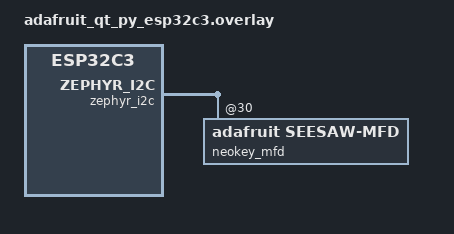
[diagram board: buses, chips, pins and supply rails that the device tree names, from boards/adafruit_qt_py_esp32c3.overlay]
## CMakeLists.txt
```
cmake_minimum_required(VERSION 3.20.0)

find_package(Zephyr REQUIRED HINTS $ENV{ZEPHYR_BASE})
project(bt_keys)

target_sources(app PRIVATE
  src/main.c
  src/hog.c
  src/keys.c
  src/report_desc.c
)

target_sources_ifdef(CONFIG_USB_DEVICE_STACK_NEXT app PRIVATE src/usb_hid.c)
```

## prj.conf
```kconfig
# Application
CONFIG_MAIN_STACK_SIZE=4096
CONFIG_SYSTEM_WORKQUEUE_STACK_SIZE=2048
CONFIG_LOG=y
CONFIG_REBOOT=y

# Shell (over the USB-CDC console) for inspecting/remapping the keymap
CONFIG_SHELL=y

# NeoKey 1x4: seesaw MFD stack over the STEMMA QT I2C bus
CONFIG_I2C=y
CONFIG_GPIO=y
CONFIG_MFD=y
CONFIG_MFD_ADAFRUIT_SEESAW=y
CONFIG_GPIO_ADAFRUIT_SEESAW=y
CONFIG_LED_STRIP=y
CONFIG_LED_STRIP_ADAFRUIT_SEESAW=y

# Bluetooth HID-over-GATT (HoG) keyboard peripheral
CONFIG_BT=y
CONFIG_BT_PERIPHERAL=y
CONFIG_BT_SMP=y
CONFIG_BT_DEVICE_NAME="bt_keys"
CONFIG_BT_DEVICE_APPEARANCE=961
CONFIG_BT_MAX_CONN=1
CONFIG_BT_GATT_DYNAMIC_DB=y
CONFIG_BT_HIDS=y
CONFIG_BT_HIDS_INPUT_REPORT_COUNT=2
# Largest report is the 8-byte keyboard one.
CONFIG_BT_HIDS_MAX_REPORT_LEN=8
CONFIG_BT_DIS=y
CONFIG_BT_DIS_MODEL_NUMBER_STR="bt_keys"
CONFIG_BT_DIS_MANUF_NAME_STR="rosterloh"
CONFIG_BT_BAS=y
# esp32 BLE host RX thread needs more than the 1200-byte default (zephyr#114394)
CONFIG_BT_RX_STACK_SIZE=2048

# Bigger ATT MTU improves OTA image-upload throughput
CONFIG_BT_L2CAP_TX_MTU=252
CONFIG_BT_BUF_ACL_TX_SIZE=251
CONFIG_BT_BUF_ACL_RX_SIZE=251

# Persistent storage: BT bonds + saved keymap
CONFIG_FLASH=y
CONFIG_FLASH_MAP=y
CONFIG_ZMS=y
CONFIG_SETTINGS=y
CONFIG_BT_SETTINGS=y

# OTA over Bluetooth: MCUmgr SMP transport + MCUboot image management
CONFIG_STREAM_FLASH=y
CONFIG_IMG_MANAGER=y
CONFIG_IMG_ERASE_PROGRESSIVELY=y
CONFIG_MCUBOOT_IMG_MANAGER=y
CONFIG_ZCBOR=y
CONFIG_BASE64=y
CONFIG_MCUMGR=y
CONFIG_MCUMGR_GRP_IMG=y
CONFIG_MCUMGR_GRP_OS=y
CONFIG_MCUMGR_TRANSPORT_BT=y
CONFIG_MCUMGR_TRANSPORT_BT_REASSEMBLY=y

CONFIG_HEAP_MEM_POOL_SIZE=16384
```

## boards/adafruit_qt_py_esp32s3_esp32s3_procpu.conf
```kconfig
# USB HID keypad, in addition to the BLE HoG one. esp32c3 has no USB device
# controller, so this is enabled only for the esp32s3 board target.
CONFIG_USB_DEVICE_STACK_NEXT=y
CONFIG_USBD_HID_SUPPORT=y
CONFIG_HWINFO=y
```

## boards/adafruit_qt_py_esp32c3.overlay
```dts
/*
 * Adafruit NeoKey 1x4 QT I2C Keypad (PID 4980) on the STEMMA QT bus.
 *
 * The keypad is an Adafruit seesaw device: the 4 mechanical keys are wired to
 * seesaw GPIO pins 4,5,6,7 (active-low, internal pull-up) and the 4 NeoPixels
 * are chained on seesaw pin 3. Drivers come from the rosterloh-drivers module.
 */

#include <zephyr/dt-bindings/led/led.h>

&zephyr_i2c {
	status = "okay";

	neokey_mfd: seesaw@30 {
		compatible = "adafruit,seesaw-mfd";
		reg = <0x30>;
		read-delay-us = <10000>;
		status = "okay";

		neokey_gpio: gpio {
			compatible = "adafruit,seesaw-gpio";
			gpio-controller;
			#gpio-cells = <2>;
			ngpios = <16>;
			status = "okay";
		};

		neokey_leds: neopixel {
			compatible = "adafruit,seesaw-neopixel";
			chain-length = <4>;
			color-mapping = <LED_COLOR_ID_GREEN LED_COLOR_ID_RED LED_COLOR_ID_BLUE>;
			seesaw-pin = <3>;
			frequency = <800000>;
			status = "okay";
		};
	};
};
```

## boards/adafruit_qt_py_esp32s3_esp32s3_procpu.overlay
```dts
/*
 * Adafruit NeoKey 1x4 QT I2C Keypad (PID 4980) on the STEMMA QT bus.
 *
 * The keypad is an Adafruit seesaw device: the 4 mechanical keys are wired to
 * seesaw GPIO pins 4,5,6,7 (active-low, internal pull-up) and the 4 NeoPixels
 * are chained on seesaw pin 3. Drivers come from the rosterloh-drivers module.
 */

#include <zephyr/dt-bindings/led/led.h>

/* USB HID keypad, alongside the BLE HoG one - see boards/*.conf. */
zephyr_udc0: &usb_otg {
	status = "okay";

	usb_hid: usb_hid {
		compatible = "zephyr,hid-device";
		protocol-code = "none";
		in-report-size = <9>;
		in-polling-period-us = <10000>;
	};
};

&zephyr_i2c {
	status = "okay";

	neokey_mfd: seesaw@30 {
		compatible = "adafruit,seesaw-mfd";
		reg = <0x30>;
		read-delay-us = <10000>;
		status = "okay";

		neokey_gpio: gpio {
			compatible = "adafruit,seesaw-gpio";
			gpio-controller;
			#gpio-cells = <2>;
			ngpios = <16>;
			status = "okay";
		};

		neokey_leds: neopixel {
			compatible = "adafruit,seesaw-neopixel";
			chain-length = <4>;
			color-mapping = <LED_COLOR_ID_GREEN LED_COLOR_ID_RED LED_COLOR_ID_BLUE>;
			seesaw-pin = <3>;
			frequency = <800000>;
			status = "okay";
		};
	};
};
```

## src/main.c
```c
/*
 * Copyright (c) 2026 Richard Osterloh
 *
 * SPDX-License-Identifier: Apache-2.0
 *
 * bt_keys - Adafruit NeoKey 1x4 turned into a Bluetooth HID keypad.
 *
 * The four seesaw-connected keys are scanned and reported over HID-over-GATT
 * (keyboard + consumer reports). Each key's NeoPixel lights while held. The
 * firmware is updatable over Bluetooth via MCUmgr SMP (see README).
 */

#include <zephyr/bluetooth/bluetooth.h>
#include <zephyr/bluetooth/conn.h>
#include <zephyr/bluetooth/hci.h>
#include <zephyr/bluetooth/services/bas.h>
#include <zephyr/bluetooth/uuid.h>
#include <zephyr/device.h>
#include <zephyr/devicetree.h>
#include <zephyr/drivers/gpio.h>
#include <zephyr/drivers/led_strip.h>
#include <zephyr/kernel.h>
#include <zephyr/logging/log.h>
#include <zephyr/settings/settings.h>
#include <zephyr/sys/util.h>

#include "hog.h"
#include "keys.h"
#include "usb_hid.h"

LOG_MODULE_REGISTER(app, LOG_LEVEL_INF);

#define SCAN_INTERVAL K_MSEC(20)

/* Seesaw GPIO pins the four keys are wired to (see board overlay). */
static const uint8_t key_pin[BT_KEYS_NUM_KEYS] = {4, 5, 6, 7};

#define KEYPAD_NODE DT_COMPAT_GET_ANY_STATUS_OKAY(adafruit_seesaw_gpio)
#define STRIP_NODE  DT_COMPAT_GET_ANY_STATUS_OKAY(adafruit_seesaw_neopixel)

static const struct device *const keypad_dev = DEVICE_DT_GET(KEYPAD_NODE);
static const struct device *const strip_dev = DEVICE_DT_GET(STRIP_NODE);

/* Colour shown on a key's NeoPixel while it is held. */
static const struct led_rgb key_lit = {.r = 0, .g = 24, .b = 24};
static const struct led_rgb key_off = {.r = 0, .g = 0, .b = 0};

/* ---------- Bluetooth ---------- */

static const struct bt_data ad[] = {
	BT_DATA_BYTES(BT_DATA_FLAGS, (BT_LE_AD_GENERAL | BT_LE_AD_NO_BREDR)),
	BT_DATA_BYTES(BT_DATA_UUID16_ALL, BT_UUID_16_ENCODE(BT_UUID_HIDS_VAL),
		      BT_UUID_16_ENCODE(BT_UUID_BAS_VAL)),
};

static const struct bt_data sd[] = {
	BT_DATA(BT_DATA_NAME_COMPLETE, CONFIG_BT_DEVICE_NAME, sizeof(CONFIG_BT_DEVICE_NAME) - 1),
};

static void connected(struct bt_conn *conn, uint8_t err)
{
	if (err) {
		LOG_ERR("Connection failed (err 0x%02x)", err);
		return;
	}

	LOG_INF("Connected");

	if (bt_conn_set_security(conn, BT_SECURITY_L2)) {
		LOG_WRN("Failed to set security");
	}
}

static void disconnected(struct bt_conn *conn, uint8_t reason)
{
	LOG_INF("Disconnected (reason 0x%02x)", reason);
}

static void security_changed(struct bt_conn *conn, bt_security_t level, enum bt_security_err err)
{
	if (err) {
		LOG_WRN("Security failed: level %u err %d", level, err);
	} else {
		LOG_INF("Security changed: level %u", level);
	}
}

BT_CONN_CB_DEFINE(conn_callbacks) = {
	.connected = connected,
	.disconnected = disconnected,
	.security_changed = security_changed,
};

static void bt_ready(int err)
{
	if (err) {
		LOG_ERR("Bluetooth init failed (err %d)", err);
		return;
	}

	err = hog_init();
	if (err) {
		LOG_ERR("HID service register failed (err %d)", err);
		return;
	}

	if (IS_ENABLED(CONFIG_SETTINGS)) {
		bt_keys_settings_register();
		settings_load();
	}

	bt_bas_set_battery_level(100);

	err = bt_le_adv_start(BT_LE_ADV_CONN_FAST_1, ad, ARRAY_SIZE(ad), sd, ARRAY_SIZE(sd));
	if (err) {
		LOG_ERR("Advertising failed to start (err %d)", err);
		return;
	}

	LOG_INF("Advertising as \"%s\"", CONFIG_BT_DEVICE_NAME);
}

/* ---------- Keypad ---------- */

static int keypad_init(void)
{
	if (!device_is_ready(keypad_dev)) {
		LOG_ERR("Keypad GPIO not ready");
		return -ENODEV;
	}

	for (int i = 0; i < BT_KEYS_NUM_KEYS; i++) {
		int err = gpio_pin_configure(keypad_dev, key_pin[i], GPIO_INPUT | GPIO_PULL_UP);

		if (err) {
			LOG_ERR("configure key pin %u: %d", key_pin[i], err);
			return err;
		}
	}

	return 0;
}

/* Returns a bitmask of pressed keys (bit i == key i), or negative on error. */
static int keypad_scan(void)
{
	gpio_port_value_t raw;
	int err = gpio_port_get_raw(keypad_dev, &raw);

	if (err) {
		return err;
	}

	int pressed = 0;

	for (int i = 0; i < BT_KEYS_NUM_KEYS; i++) {
		/* Keys are active-low with pull-ups: a 0 bit means pressed. */
		if (!(raw & BIT(key_pin[i]))) {
			pressed |= BIT(i);
		}
	}

	return pressed;
}

static void leds_update(int pressed_mask)
{
	struct led_rgb buf[BT_KEYS_NUM_KEYS];

	for (int i = 0; i < BT_KEYS_NUM_KEYS; i++) {
		buf[i] = (pressed_mask & BIT(i)) ? key_lit : key_off;
	}

	int err = led_strip_update_rgb(strip_dev, buf, BT_KEYS_NUM_KEYS);

	if (err) {
		LOG_WRN("led_strip update failed: %d", err);
	}
}

/* Translate the pressed mask into HID reports and notify on change. */
static void report_keys(int pressed_mask)
{
	static uint8_t prev_kbd[HID_KEYBOARD_KEYS];
	static uint16_t prev_consumer;
	static int prev_mask;
	/*
	 * The consumer report carries a single 16-bit usage, so at most one held
	 * consumer key can be reported at a time. A newly pressed consumer key
	 * takes over from an older held one; releasing the active key falls back
	 * to another still-held consumer key, if any.
	 */
	static int active_consumer_key = -1;

	uint8_t kbd[HID_KEYBOARD_KEYS] = {0};
	uint16_t consumer = 0;
	int kbd_idx = 0;

	if (active_consumer_key >= 0 && !(pressed_mask & BIT(active_consumer_key))) {
		active_consumer_key = -1;
	}

	for (int i = 0; i < BT_KEYS_NUM_KEYS; i++) {
		bool newly_pressed = (pressed_mask & BIT(i)) && !(prev_mask & BIT(i));

		if (newly_pressed && bt_keys_map[i].type == BT_KEYS_TYPE_CONSUMER) {
			active_consumer_key = i;
		}
	}

	if (active_consumer_key < 0) {
		for (int i = 0; i < BT_KEYS_NUM_KEYS; i++) {
			if ((pressed_mask & BIT(i)) &&
			    bt_keys_map[i].type == BT_KEYS_TYPE_CONSUMER) {
				active_consumer_key = i;
				break;
			}
		}
	}

	if (active_consumer_key >= 0) {
		consumer = bt_keys_map[active_consumer_key].usage;
	}

	for (int i = 0; i < BT_KEYS_NUM_KEYS; i++) {
		if (!(pressed_mask & BIT(i))) {
			continue;
		}

		if (bt_keys_map[i].type == BT_KEYS_TYPE_KEYBOARD && kbd_idx < HID_KEYBOARD_KEYS) {
			kbd[kbd_idx++] = (uint8_t)bt_keys_map[i].usage;
		}
	}

	prev_mask = pressed_mask;

	if (memcmp(kbd, prev_kbd, sizeof(kbd)) != 0) {
		memcpy(prev_kbd, kbd, sizeof(kbd));
		hog_notify_keyboard(0, kbd);
		if (IS_ENABLED(CONFIG_USB_DEVICE_STACK_NEXT)) {
			usb_hid_notify_keyboard(0, kbd);
		}
	}

	if (consumer != prev_consumer) {
		prev_consumer = consumer;
		hog_notify_consumer(consumer);
		if (IS_ENABLED(CONFIG_USB_DEVICE_STACK_NEXT)) {
			usb_hid_notify_consumer(consumer);
		}
	}
}

int main(void)
{
	int err;

	LOG_INF("bt_keys starting");

	if (keypad_init()) {
		return 0;
	}

	if (!device_is_ready(strip_dev)) {
		LOG_ERR("LED strip not ready");
		return 0;
	}
	leds_update(0);

	if (IS_ENABLED(CONFIG_USB_DEVICE_STACK_NEXT)) {
		err = bt_keys_usb_hid_init();
		if (err) {
			LOG_ERR("usb_hid_init failed (err %d)", err);
			return 0;
		}
	}

	err = bt_enable(bt_ready);
	if (err) {
		LOG_ERR("bt_enable failed (err %d)", err);
		return 0;
	}

	int prev_mask = 0;

	while (1) {
		int mask = keypad_scan();

		if (mask < 0) {
			LOG_WRN("keypad scan failed: %d", mask);
			k_sleep(SCAN_INTERVAL);
			continue;
		}

		if (mask != prev_mask) {
			report_keys(mask);
			leds_update(mask);
			prev_mask = mask;
		}

		k_sleep(SCAN_INTERVAL);
	}

	return 0;
}
```

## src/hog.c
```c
/*
 * Copyright (c) 2026 Richard Osterloh
 *
 * SPDX-License-Identifier: Apache-2.0
 *
 * HID-over-GATT (HoG) on Zephyr's HID Service with two input reports: a
 * boot-style keyboard report (report id 1) and a consumer-control report
 * (report id 2), so keys can map to either usage page.
 */

#include <errno.h>
#include <string.h>

#include <zephyr/bluetooth/services/hids.h>
#include <zephyr/logging/log.h>
#include <zephyr/sys/byteorder.h>

#include "hog.h"

LOG_MODULE_REGISTER(hog, LOG_LEVEL_INF);

int hog_init(void)
{
	static const struct bt_hids_cb cb = {0};
	const struct bt_hids_register_param param = {
		.bcd_hid = 0x0111,
		.flags = BT_HIDS_INFO_FLAG_NORMALLY_CONNECTABLE,
		.report_map = hid_report_desc,
		.report_map_len = hid_report_desc_len,
		.input_report_ids = {REPORT_ID_KEYBOARD, REPORT_ID_CONSUMER},
		.cb = &cb,
	};

	return bt_hids_register(&param);
}

static void send(uint8_t id, const uint8_t *report, uint16_t len)
{
	int err = bt_hids_send_report(NULL, id, report, len, NULL, NULL);

	/* -ENOTCONN: no host subscribed yet. */
	if (err && err != -ENOTCONN) {
		LOG_WRN("report %u notify failed: %d", id, err);
	}
}

void hog_notify_keyboard(uint8_t modifiers, const uint8_t keycodes[HID_KEYBOARD_KEYS])
{
	uint8_t report[2 + HID_KEYBOARD_KEYS] = {modifiers, 0};

	memcpy(&report[2], keycodes, HID_KEYBOARD_KEYS);
	send(REPORT_ID_KEYBOARD, report, sizeof(report));
}

void hog_notify_consumer(uint16_t usage)
{
	uint8_t report[2];

	sys_put_le16(usage, report);
	send(REPORT_ID_CONSUMER, report, sizeof(report));
}
```

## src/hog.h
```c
/*
 * Copyright (c) 2026 Richard Osterloh
 *
 * SPDX-License-Identifier: Apache-2.0
 */

#ifndef BT_KEYS_HOG_H_
#define BT_KEYS_HOG_H_

#include <stdint.h>

#include "report_desc.h"

/* Register the HID Service. Call before settings_load() so CCCs restore. */
int hog_init(void);

/*
 * Notify the connected host of the current keyboard state. keycodes holds up
 * to HID_KEYBOARD_KEYS pressed HID keyboard usages (0 = empty slot).
 */
void hog_notify_keyboard(uint8_t modifiers, const uint8_t keycodes[HID_KEYBOARD_KEYS]);

/*
 * Notify the connected host of the current consumer-control state. usage is the
 * 16-bit consumer usage currently held, or 0 when released.
 */
void hog_notify_consumer(uint16_t usage);

#endif /* BT_KEYS_HOG_H_ */
```

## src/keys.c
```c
/*
 * Copyright (c) 2026 Richard Osterloh
 *
 * SPDX-License-Identifier: Apache-2.0
 *
 * Keymap: default bindings, persistence in Settings, and a shell command to
 * inspect and remap the four keys at runtime.
 */

#include <stdlib.h>

#include <zephyr/kernel.h>
#include <zephyr/logging/log.h>
#include <zephyr/settings/settings.h>
#include <zephyr/shell/shell.h>

#include "keys.h"

LOG_MODULE_REGISTER(keys, LOG_LEVEL_INF);

/* Consumer-control usages (HID Usage Table, Consumer page 0x0C). */
#define USAGE_SCAN_PREV  0x00B6
#define USAGE_SCAN_NEXT  0x00B5
#define USAGE_PLAY_PAUSE 0x00CD
#define USAGE_MUTE       0x00E2

/* Default: a media pad - Prev / Play-Pause / Next / Mute. */
struct bt_keys_binding bt_keys_map[BT_KEYS_NUM_KEYS] = {
	{BT_KEYS_TYPE_CONSUMER, USAGE_SCAN_PREV},
	{BT_KEYS_TYPE_CONSUMER, USAGE_PLAY_PAUSE},
	{BT_KEYS_TYPE_CONSUMER, USAGE_SCAN_NEXT},
	{BT_KEYS_TYPE_CONSUMER, USAGE_MUTE},
};

#define SETTINGS_ROOT "btkeys"
#define SETTINGS_MAP  SETTINGS_ROOT "/map"

static int keys_settings_set(const char *name, size_t len, settings_read_cb read_cb, void *cb_arg)
{
	if (settings_name_steq(name, "map", NULL)) {
		if (len != sizeof(bt_keys_map)) {
			LOG_WRN("stored keymap size mismatch (%zu), ignoring", len);
			return -EINVAL;
		}

		ssize_t rc = read_cb(cb_arg, bt_keys_map, sizeof(bt_keys_map));

		if (rc < 0) {
			return (int)rc;
		}
		LOG_INF("loaded keymap from settings");
		return 0;
	}

	return -ENOENT;
}

static struct settings_handler keys_conf = {
	.name = SETTINGS_ROOT,
	.h_set = keys_settings_set,
};

int bt_keys_settings_register(void)
{
	return settings_register(&keys_conf);
}

int bt_keys_set(uint8_t index, enum bt_keys_type type, uint16_t usage)
{
	if (index >= BT_KEYS_NUM_KEYS) {
		return -EINVAL;
	}

	bt_keys_map[index].type = (uint8_t)type;
	bt_keys_map[index].usage = usage;

	return settings_save_one(SETTINGS_MAP, bt_keys_map, sizeof(bt_keys_map));
}

/* ---------- shell ---------- */

static const char *type_str(uint8_t type)
{
	return type == BT_KEYS_TYPE_CONSUMER ? "consumer" : "keyboard";
}

static int cmd_keys_list(const struct shell *sh, size_t argc, char **argv)
{
	ARG_UNUSED(argc);
	ARG_UNUSED(argv);

	for (int i = 0; i < BT_KEYS_NUM_KEYS; i++) {
		shell_print(sh, "key %d: %-8s usage 0x%04x", i, type_str(bt_keys_map[i].type),
			    bt_keys_map[i].usage);
	}

	return 0;
}

static int cmd_keys_set(const struct shell *sh, size_t argc, char **argv)
{
	/* keys set <index> <keyboard|consumer> <usage-hex> */
	unsigned long index = strtoul(argv[1], NULL, 0);
	enum bt_keys_type type;

	if (!strcmp(argv[2], "keyboard") || !strcmp(argv[2], "kbd")) {
		type = BT_KEYS_TYPE_KEYBOARD;
	} else if (!strcmp(argv[2], "consumer") || !strcmp(argv[2], "cons")) {
		type = BT_KEYS_TYPE_CONSUMER;
	} else {
		shell_error(sh, "type must be 'keyboard' or 'consumer'");
		return -EINVAL;
	}

	unsigned long usage = strtoul(argv[3], NULL, 0);

	if (index >= BT_KEYS_NUM_KEYS || usage > UINT16_MAX) {
		shell_error(sh, "index 0..%d, usage 0..0xffff", BT_KEYS_NUM_KEYS - 1);
		return -EINVAL;
	}

	int err = bt_keys_set((uint8_t)index, type, (uint16_t)usage);

	if (err) {
		shell_error(sh, "failed to save: %d", err);
		return err;
	}

	shell_print(sh, "key %lu -> %s usage 0x%04lx (saved)", index, type_str(type), usage);
	return 0;
}

SHELL_STATIC_SUBCMD_SET_CREATE(
	keys_cmds, SHELL_CMD(list, NULL, "List current key bindings", cmd_keys_list),
	SHELL_CMD_ARG(set, NULL, "Remap a key: set <index> <keyboard|consumer> <usage-hex>",
		      cmd_keys_set, 4, 0),
	SHELL_SUBCMD_SET_END);

SHELL_CMD_REGISTER(keys, &keys_cmds, "NeoKey binding control", NULL);
```

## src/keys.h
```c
/*
 * Copyright (c) 2026 Richard Osterloh
 *
 * SPDX-License-Identifier: Apache-2.0
 */

#ifndef BT_KEYS_KEYS_H_
#define BT_KEYS_KEYS_H_

#include <stdint.h>

/* Number of physical keys on the NeoKey 1x4. */
#define BT_KEYS_NUM_KEYS 4

/*
 * A physical key sends either a standard keyboard usage (HID Keyboard/Keypad
 * page 0x07, 8-bit usage) or a consumer-control usage (HID Consumer page 0x0C,
 * 16-bit usage). The two are reported over different HID input reports, so a
 * key's type selects which report carries it.
 */
enum bt_keys_type {
	BT_KEYS_TYPE_KEYBOARD = 0,
	BT_KEYS_TYPE_CONSUMER = 1,
};

struct bt_keys_binding {
	uint8_t type;   /* enum bt_keys_type */
	uint16_t usage; /* HID usage code on the type's usage page */
};

/* Current bindings, index 0..3 matching physical keys 0..3 (left to right). */
extern struct bt_keys_binding bt_keys_map[BT_KEYS_NUM_KEYS];

/*
 * Register the settings handler and load any persisted bindings. Call after
 * settings_subsys_init()/before settings_load(). Falls back to the compiled-in
 * media-key defaults for any binding not present in storage.
 */
int bt_keys_settings_register(void);

/* Persist a single binding to storage. */
int bt_keys_set(uint8_t index, enum bt_keys_type type, uint16_t usage);

#endif /* BT_KEYS_KEYS_H_ */
```

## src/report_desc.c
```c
/*
 * Copyright (c) 2026 Richard Osterloh
 *
 * SPDX-License-Identifier: Apache-2.0
 */

#include "report_desc.h"

/* clang-format off */
const uint8_t hid_report_desc[] = {
	/* Keyboard */
	0x05, 0x01,               /* Usage Page (Generic Desktop) */
	0x09, 0x06,               /* Usage (Keyboard) */
	0xA1, 0x01,               /* Collection (Application) */
	0x85, REPORT_ID_KEYBOARD, /*  Report ID (1) */
	0x05, 0x07,               /*  Usage Page (Keyboard/Keypad) */
	0x19, 0xE0,               /*  Usage Minimum (Left Control) */
	0x29, 0xE7,               /*  Usage Maximum (Right GUI) */
	0x15, 0x00,               /*  Logical Minimum (0) */
	0x25, 0x01,               /*  Logical Maximum (1) */
	0x75, 0x01,               /*  Report Size (1) */
	0x95, 0x08,               /*  Report Count (8) */
	0x81, 0x02,               /*  Input (Data,Var,Abs) - modifier byte */
	0x95, 0x01,               /*  Report Count (1) */
	0x75, 0x08,               /*  Report Size (8) */
	0x81, 0x03,               /*  Input (Const) - reserved byte */
	0x95, 0x06,               /*  Report Count (6) */
	0x75, 0x08,               /*  Report Size (8) */
	0x15, 0x00,               /*  Logical Minimum (0) */
	0x25, 0xFF,               /*  Logical Maximum (255) */
	0x05, 0x07,               /*  Usage Page (Keyboard/Keypad) */
	0x19, 0x00,               /*  Usage Minimum (0) */
	0x29, 0xFF,               /*  Usage Maximum (255) */
	0x81, 0x00,               /*  Input (Data,Array) - keycodes */
	0xC0,                     /* End Collection */

	/* Consumer control */
	0x05, 0x0C,               /* Usage Page (Consumer) */
	0x09, 0x01,               /* Usage (Consumer Control) */
	0xA1, 0x01,               /* Collection (Application) */
	0x85, REPORT_ID_CONSUMER, /*  Report ID (2) */
	0x15, 0x00,               /*  Logical Minimum (0) */
	0x26, 0xFF, 0x03,         /*  Logical Maximum (0x3FF) */
	0x19, 0x00,               /*  Usage Minimum (0) */
	0x2A, 0xFF, 0x03,         /*  Usage Maximum (0x3FF) */
	0x75, 0x10,               /*  Report Size (16) */
	0x95, 0x01,               /*  Report Count (1) */
	0x81, 0x00,               /*  Input (Data,Array) */
	0xC0,                     /* End Collection */
};
/* clang-format on */

const size_t hid_report_desc_len = sizeof(hid_report_desc);
```

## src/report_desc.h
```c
/*
 * Copyright (c) 2026 Richard Osterloh
 *
 * SPDX-License-Identifier: Apache-2.0
 *
 * HID report descriptor shared by both HID transports (BLE HoG and USB HID):
 * a keyboard collection (report id 1, 8-byte report) and a consumer-control
 * collection (report id 2, one 16-bit usage).
 */

#ifndef BT_KEYS_REPORT_DESC_H_
#define BT_KEYS_REPORT_DESC_H_

#include <stddef.h>
#include <stdint.h>

#define REPORT_ID_KEYBOARD 0x01
#define REPORT_ID_CONSUMER 0x02

/* Keyboard input report: [modifiers][reserved][keycode x6]. */
#define HID_KEYBOARD_KEYS 6

extern const uint8_t hid_report_desc[];
extern const size_t hid_report_desc_len;

#endif /* BT_KEYS_REPORT_DESC_H_ */
```

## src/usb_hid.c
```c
/*
 * Copyright (c) 2026 Richard Osterloh
 *
 * SPDX-License-Identifier: Apache-2.0
 *
 * USB HID transport: same two reports (keyboard + consumer) as the BLE HoG
 * service, sent over a single HID class instance instead of GATT notifications.
 */

#include <string.h>

#include <zephyr/drivers/usb/udc.h>
#include <zephyr/sys/byteorder.h>
#include <zephyr/usb/class/usbd_hid.h>
#include <zephyr/usb/usbd.h>

#include <zephyr/logging/log.h>

#include "usb_hid.h"

LOG_MODULE_REGISTER(usb_hid, LOG_LEVEL_INF);

#define APP_USB_VID 0x2fe3
#define APP_USB_PID 0x0002

static const struct device *const hid_dev = DEVICE_DT_GET(DT_NODELABEL(usb_hid));

static bool hid_ready;

static void hid_iface_ready(const struct device *dev, const bool ready)
{
	ARG_UNUSED(dev);
	hid_ready = ready;
}

static const struct hid_device_ops hid_ops = {
	.iface_ready = hid_iface_ready,
};

USBD_DEVICE_DEFINE(bt_keys_usbd, DEVICE_DT_GET(DT_NODELABEL(zephyr_udc0)), APP_USB_VID,
		   APP_USB_PID);
USBD_DESC_LANG_DEFINE(usbd_lang);
USBD_DESC_MANUFACTURER_DEFINE(usbd_mfr, "rosterloh");
USBD_DESC_PRODUCT_DEFINE(usbd_product, "bt_keys");
USBD_DESC_SERIAL_NUMBER_DEFINE(usbd_sn);
USBD_DESC_CONFIG_DEFINE(usbd_fs_cfg_desc, "FS Configuration");
USBD_CONFIGURATION_DEFINE(usbd_fs_config, USB_SCD_SELF_POWERED, 100, &usbd_fs_cfg_desc);

int bt_keys_usb_hid_init(void)
{
	int err;

	err = hid_device_register(hid_dev, hid_report_desc, hid_report_desc_len, &hid_ops);
	if (err) {
		LOG_ERR("hid_device_register failed (%d)", err);
		return err;
	}

	err = usbd_add_descriptor(&bt_keys_usbd, &usbd_lang);
	err |= usbd_add_descriptor(&bt_keys_usbd, &usbd_mfr);
	err |= usbd_add_descriptor(&bt_keys_usbd, &usbd_product);
	err |= usbd_add_descriptor(&bt_keys_usbd, &usbd_sn);
	if (err) {
		LOG_ERR("failed to add USB string descriptors (%d)", err);
		return err;
	}

	err = usbd_add_configuration(&bt_keys_usbd, USBD_SPEED_FS, &usbd_fs_config);
	if (err) {
		LOG_ERR("usbd_add_configuration failed (%d)", err);
		return err;
	}

	err = usbd_register_all_classes(&bt_keys_usbd, USBD_SPEED_FS, 1, NULL);
	if (err) {
		LOG_ERR("usbd_register_all_classes failed (%d)", err);
		return err;
	}

	err = usbd_init(&bt_keys_usbd);
	if (err) {
		LOG_ERR("usbd_init failed (%d)", err);
		return err;
	}

	err = usbd_enable(&bt_keys_usbd);
	if (err) {
		LOG_ERR("usbd_enable failed (%d)", err);
		return err;
	}

	LOG_INF("USB HID ready");
	return 0;
}

void usb_hid_notify_keyboard(uint8_t modifiers, const uint8_t keycodes[HID_KEYBOARD_KEYS])
{
	if (!hid_ready) {
		return;
	}

	uint8_t report[1 + 2 + HID_KEYBOARD_KEYS] = {REPORT_ID_KEYBOARD, modifiers, 0};

	memcpy(&report[3], keycodes, HID_KEYBOARD_KEYS);

	int err = hid_device_submit_report(hid_dev, sizeof(report), report);

	if (err) {
		LOG_WRN("keyboard report submit failed: %d", err);
	}
}

void usb_hid_notify_consumer(uint16_t usage)
{
	if (!hid_ready) {
		return;
	}

	uint8_t report[3] = {REPORT_ID_CONSUMER};

	sys_put_le16(usage, &report[1]);

	int err = hid_device_submit_report(hid_dev, sizeof(report), report);

	if (err) {
		LOG_WRN("consumer report submit failed: %d", err);
	}
}
```

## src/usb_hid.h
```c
/*
 * Copyright (c) 2026 Richard Osterloh
 *
 * SPDX-License-Identifier: Apache-2.0
 */

#ifndef BT_KEYS_USB_HID_H_
#define BT_KEYS_USB_HID_H_

#include <stdint.h>

#include "report_desc.h"

/*
 * Bring up the USB device stack and the HID class instance. Only built when
 * CONFIG_USB_DEVICE_STACK_NEXT is enabled (currently the esp32s3 board target
 * only - esp32c3 has no USB device controller for a HID class).
 */
int bt_keys_usb_hid_init(void);

/* Same semantics as hog_notify_keyboard(), for the USB HID transport. */
void usb_hid_notify_keyboard(uint8_t modifiers, const uint8_t keycodes[HID_KEYBOARD_KEYS]);

/* Same semantics as hog_notify_consumer(), for the USB HID transport. */
void usb_hid_notify_consumer(uint16_t usage);

#endif /* BT_KEYS_USB_HID_H_ */
```
